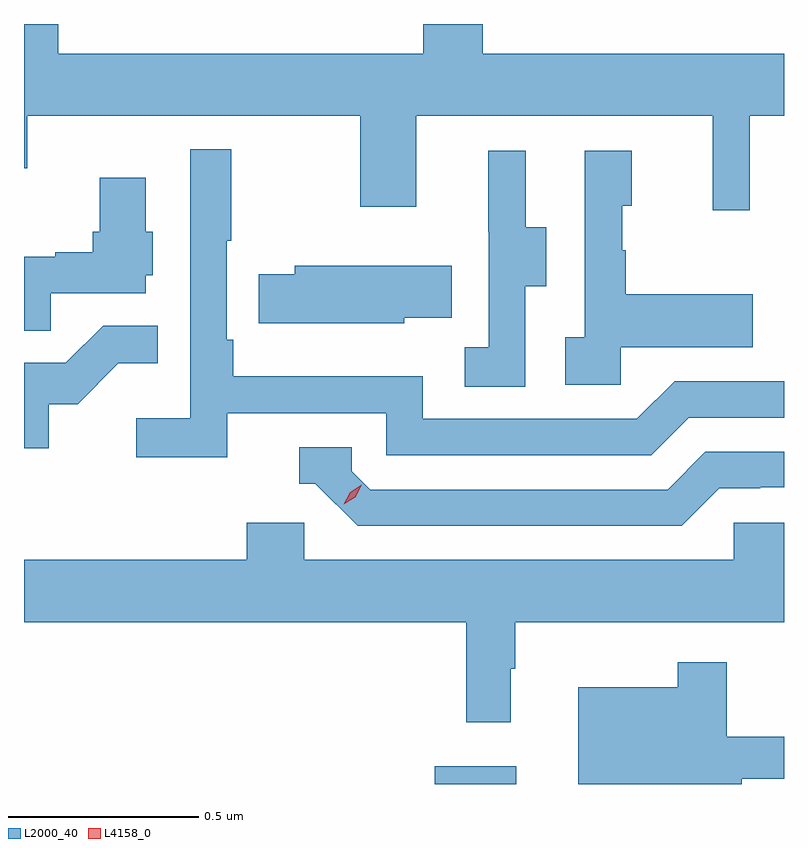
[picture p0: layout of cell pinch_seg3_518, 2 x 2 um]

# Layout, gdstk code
import gdstk
lib = gdstk.Library(unit=1e-6, precision=1e-09)
def R(c, l, rs):  # rectangles x0, y0, x1, y1
    for r in rs: c.add(gdstk.rectangle(r[:2], r[2:], *l))
def P(c, l, *ps):  # polygons
    for p in ps: c.add(gdstk.Polygon(p, *l))
L2000_40 = (2000, 40)
L4158_0 = (4158, 0)

pinch_seg3_518 = lib.new_cell('pinch_seg3_518')
R(pinch_seg3_518, L2000_40, [(974.102,679.178,974.317,679.225)])
P(pinch_seg3_518, L2000_40, [(974.931,680.936),(975.021,680.936),(975.021,681.1),(974.228,681.1),(974.228,681.178),(974.071,681.178),(974.071,681.1),(973.111,681.1),(973.111,681.178),(973.021,681.178),(973.021,680.799),(973.029,680.799),(973.029,680.936),(973.906,680.936),(973.906,680.697),(974.053,680.697),(974.053,680.936),(974.834,680.936),(974.834,680.688),(974.931,680.688)],
  [(973.556,680.154),(973.974,680.154),(973.974,680.043),(974.671,680.043),(974.77,680.142),(975.021,680.142),(975.021,680.238),(974.733,680.238),(974.634,680.139),(974.07,680.139),(974.07,680.251),(973.571,680.251),(973.571,680.347),(973.554,680.347),(973.554,680.608),(973.567,680.608),(973.567,680.848),(973.458,680.848),(973.458,680.14),(973.317,680.14),(973.317,680.038),(973.556,680.038)],
  [(974.34,680.488),(974.395,680.488),(974.395,680.643),(974.341,680.643),(974.341,680.845),(974.243,680.845),(974.243,680.631),(974.244,680.631),(974.244,680.327),(974.181,680.327),(974.181,680.224),(974.34,680.224)],
  [(974.592,680.327),(974.939,680.327),(974.939,680.467),(974.605,680.467),(974.605,680.582),(974.595,680.582),(974.595,680.7),(974.62,680.7),(974.62,680.845),(974.496,680.845),(974.496,680.354),(974.445,680.354),(974.445,680.229),(974.592,680.229)],
  [(973.091,680.469),(973.342,680.469),(973.342,680.517),(973.36,680.517),(973.36,680.631),(973.342,680.631),(973.342,680.773),(973.22,680.773),(973.22,680.631),(973.202,680.631),(973.202,680.578),(973.103,680.578),(973.103,680.565),(973.021,680.565),(973.021,680.371),(973.091,680.371)],
  [(974.022,680.405),(974.147,680.405),(974.147,680.542),(973.733,680.542),(973.733,680.52),(973.639,680.52),(973.639,680.391),(973.75,680.391),(973.75,680.39),(974.022,680.39)],
  [(973.086,680.178),(973.162,680.178),(973.269,680.285),(973.373,680.285),(973.373,680.384),(973.229,680.384),(973.131,680.286),(973.021,680.286),(973.021,680.061),(973.086,680.061)],
  [(974.851,679.956),(974.958,679.956),(974.958,679.959),(975.021,679.959),(975.021,680.052),(974.814,680.052),(974.715,679.953),(973.932,679.953),(973.884,680.001),(973.884,680.064),(973.745,680.064),(973.745,679.968),(973.788,679.968),(973.899,679.857),(974.752,679.857)],
  [(974.302,679.481),(974.314,679.481),(974.314,679.604),(975.021,679.604),(975.021,679.866),(974.889,679.866),(974.889,679.768),(973.758,679.768),(973.758,679.866),(973.607,679.866),(973.607,679.768),(973.021,679.768),(973.021,679.604),(974.185,679.604),(974.185,679.341),(974.302,679.341)],
  [(974.91,679.192),(975.021,679.192),(975.021,679.303),(974.87,679.303),(974.87,679.498),(974.742,679.498),(974.742,679.432),(974.48,679.432),(974.48,679.178),(974.91,679.178)])
P(pinch_seg3_518, L4158_0, [(973.862,679.914),(973.862,679.914),(973.879,679.946),(973.91,679.966),(973.91,679.966),(973.91,679.966),(973.893,679.933),(973.862,679.914)])

lib.write_gds('pinch_seg3_518.gds')
